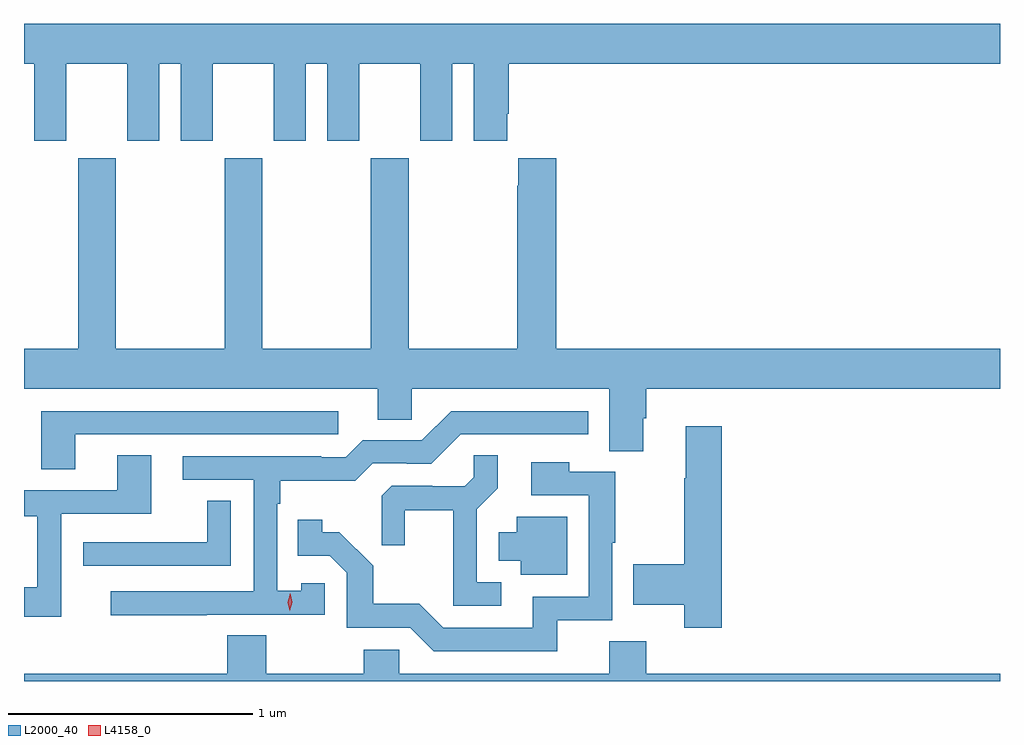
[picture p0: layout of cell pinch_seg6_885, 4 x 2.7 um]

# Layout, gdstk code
import gdstk
lib = gdstk.Library(unit=1e-6, precision=1e-09)
def P(c, l, *ps):  # polygons
    for p in ps: c.add(gdstk.Polygon(p, *l))
L2000_40 = (2000, 40)
L4158_0 = (4158, 0)

pinch_seg6_885 = lib.new_cell('pinch_seg6_885')
P(pinch_seg6_885, L2000_40, [(337.969,918.032),(338.219,918.032),(338.219,917.715),(338.35,917.715),(338.35,918.032),(338.438,918.032),(338.438,917.715),(338.569,917.715),(338.569,918.032),(338.819,918.032),(338.819,917.715),(338.95,917.715),(338.95,918.032),(339.038,918.032),(339.038,917.715),(339.169,917.715),(339.169,918.032),(339.419,918.032),(339.419,917.715),(339.55,917.715),(339.55,918.032),(339.638,918.032),(339.638,917.715),(339.775,917.715),(339.775,917.827),(339.782,917.827),(339.782,918.032),(341.795,918.032),(341.795,918.196),(337.795,918.196),(337.795,918.032),(337.838,918.032),(337.838,917.715),(337.969,917.715)],
  [(340.333,916.578),(340.346,916.578),(340.346,916.7),(341.795,916.7),(341.795,916.864),(339.977,916.864),(339.977,917.644),(339.821,917.644),(339.821,917.531),(339.817,917.531),(339.817,916.864),(339.372,916.864),(339.372,917.644),(339.217,917.644),(339.217,916.864),(338.772,916.864),(338.772,917.644),(338.617,917.644),(338.617,916.864),(338.172,916.864),(338.172,917.644),(338.017,917.644),(338.017,916.864),(337.795,916.864),(337.795,916.7),(339.245,916.7),(339.245,916.573),(339.384,916.573),(339.384,916.7),(340.193,916.7),(340.193,916.444),(340.333,916.444)],
  [(338.543,915.774),(339.027,915.774),(339.027,915.903),(338.931,915.903),(338.931,915.871),(338.832,915.871),(338.832,916.229),(338.845,916.229),(338.845,916.322),(339.152,916.322),(339.225,916.395),(339.364,916.395),(339.364,916.392),(339.465,916.392),(339.585,916.512),(340.108,916.512),(340.108,916.608),(339.546,916.608),(339.426,916.488),(339.183,916.488),(339.114,916.419),(339.014,916.419),(339.014,916.422),(338.445,916.422),(338.445,916.326),(338.736,916.326),(338.736,915.87),(338.151,915.87),(338.151,915.772),(338.543,915.772)],
  [(338.005,916.512),(339.082,916.512),(339.082,916.608),(337.865,916.608),(337.865,916.369),(338.005,916.369)],
  [(340.655,916.546),(340.508,916.546),(340.508,916.333),(340.501,916.333),(340.501,915.981),(340.291,915.981),(340.291,915.815),(340.501,915.815),(340.501,915.72),(340.655,915.72)],
  [(339.751,915.906),(339.651,915.906),(339.651,916.205),(339.737,916.291),(339.737,916.427),(339.639,916.427),(339.639,916.336),(339.602,916.299),(339.468,916.299),(339.468,916.302),(339.303,916.302),(339.262,916.261),(339.262,916.059),(339.356,916.059),(339.356,916.202),(339.554,916.202),(339.554,915.81),(339.751,915.81)],
  [(337.947,916.188),(338.317,916.188),(338.317,916.427),(338.177,916.427),(338.177,916.284),(337.795,916.284),(337.795,916.176),(337.85,916.176),(337.85,915.885),(337.795,915.885),(337.795,915.765),(337.947,915.765)],
  [(339.98,915.75),(340.206,915.75),(340.206,916.069),(340.219,916.069),(340.219,916.359),(340.029,916.359),(340.029,916.399),(339.873,916.399),(339.873,916.263),(340.11,916.263),(340.11,915.846),(339.881,915.846),(339.881,915.72),(339.513,915.72),(339.415,915.819),(339.226,915.819),(339.226,915.974),(339.088,916.112),(339.018,916.112),(339.018,916.162),(338.917,916.162),(338.917,916.014),(339.048,916.014),(339.117,915.945),(339.117,915.72),(339.378,915.72),(339.474,915.624),(339.98,915.624)],
  [(338.643,916.241),(338.545,916.241),(338.545,916.071),(338.149,916.071),(338.149,916.07),(338.037,916.07),(338.037,915.975),(338.643,915.975)],
  [(340.021,916.174),(339.815,916.174),(339.815,916.111),(339.74,916.111),(339.74,915.995),(339.83,915.995),(339.83,915.938),(340.021,915.938)],
  [(340.193,915.665),(340.193,915.532),(339.333,915.532),(339.333,915.63),(339.187,915.63),(339.187,915.532),(338.787,915.532),(338.787,915.689),(338.627,915.689),(338.627,915.532),(337.795,915.532),(337.795,915.5),(341.795,915.5),(341.795,915.532),(340.346,915.532),(340.346,915.665)])
P(pinch_seg6_885, L4158_0, [(338.885,915.789),(338.885,915.789),(338.875,915.825),(338.886,915.861),(338.886,915.861),(338.886,915.861),(338.895,915.825),(338.885,915.789)])

lib.write_gds('pinch_seg6_885.gds')
